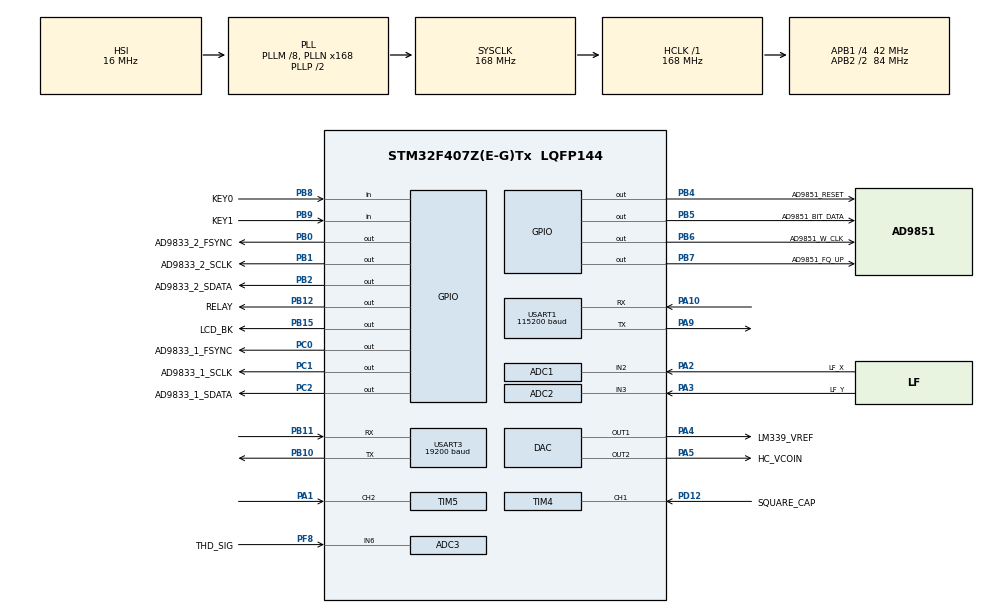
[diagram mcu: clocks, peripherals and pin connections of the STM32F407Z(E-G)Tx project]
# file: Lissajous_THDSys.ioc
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ADC1.Channel-0\#ChannelRegularConversion=ADC_CHANNEL_2
ADC1.Channel-1\#ChannelInjectedConversion=ADC_CHANNEL_2
ADC1.Channel-IN2=ADC_CHANNEL_2
ADC1.ContinuousConvMode=DISABLE
ADC1.DMAContinuousRequests=ENABLE
ADC1.DataAlign=ADC_DATAALIGN_RIGHT
ADC1.DiscontinuousConvMode=DISABLE
ADC1.EOCSelection=ADC_EOC_SINGLE_CONV
ADC1.EnableAnalogWatchDog=false
ADC1.ExternalTrigConv=ADC_EXTERNALTRIGCONV_T2_TRGO
ADC1.ExternalTrigConvEdge=ADC_EXTERNALTRIGCONVEDGE_RISING
ADC1.ExternalTrigInjecConv=ADC_INJECTED_SOFTWARE_START
ADC1.ExternalTrigInjecConvEdge=ADC_EXTERNALTRIGINJECCONVEDGE_NONE
ADC1.InjNumberOfConversion=1
ADC1.InjectedConvMode=None
ADC1.InjectedOffset-1\#ChannelInjectedConversion=0
ADC1.InjectedRank-1\#ChannelInjectedConversion=1
ADC1.Mode=ADC_DUALMODE_REGSIMULT_ALTERTRIG
ADC1.NbrOfConversion=1
ADC1.Rank-0\#ChannelRegularConversion=1
ADC1.Resolution=ADC_RESOLUTION_12B
ADC1.SamplingTime-0\#ChannelRegularConversion=ADC_SAMPLETIME_3CYCLES
ADC1.SamplingTime-1\#ChannelInjectedConversion=ADC_SAMPLETIME_3CYCLES
ADC1.ScanConvMode=DISABLE
ADC1.master=1
ADC2.Channel-3\#ChannelRegularConversion=ADC_CHANNEL_3
ADC2.DMAAccessMode=ADC_DMAACCESSMODE_2
ADC2.Mode=ADC_DUALMODE_REGSIMULT_ALTERTRIG
ADC2.NbrOfConversionFlag=1
ADC2.Rank-3\#ChannelRegularConversion=1
ADC2.SamplingTime-3\#ChannelRegularConversion=ADC_SAMPLETIME_3CYCLES
ADC3.Channel-2\#ChannelRegularConversion=ADC_CHANNEL_6
ADC3.ExternalTrigConv=ADC_EXTERNALTRIGCONV_T3_TRGO
ADC3.Mode=ADC_DUALMODE_REGSIMULT_ALTERTRIG
ADC3.NbrOfConversionFlag=1
ADC3.Rank-2\#ChannelRegularConversion=1
ADC3.SamplingTime-2\#ChannelRegularConversion=ADC_SAMPLETIME_3CYCLES
Dma.ADC1.2.Direction=DMA_PERIPH_TO_MEMORY
Dma.ADC1.2.FIFOMode=DMA_FIFOMODE_DISABLE
Dma.ADC1.2.Instance=DMA2_Stream0
Dma.ADC1.2.MemDataAlignment=DMA_MDATAALIGN_HALFWORD
Dma.ADC1.2.MemInc=DMA_MINC_ENABLE
Dma.ADC1.2.Mode=DMA_CIRCULAR
Dma.ADC1.2.PeriphDataAlignment=DMA_PDATAALIGN_HALFWORD
Dma.ADC1.2.PeriphInc=DMA_PINC_DISABLE
Dma.ADC1.2.Priority=DMA_PRIORITY_LOW
Dma.ADC3.3.Direction=DMA_PERIPH_TO_MEMORY
Dma.ADC3.3.FIFOMode=DMA_FIFOMODE_DISABLE
Dma.ADC3.3.Instance=DMA2_Stream1
Dma.ADC3.3.MemDataAlignment=DMA_MDATAALIGN_HALFWORD
Dma.ADC3.3.MemInc=DMA_MINC_ENABLE
Dma.ADC3.3.Mode=DMA_CIRCULAR
Dma.ADC3.3.PeriphDataAlignment=DMA_PDATAALIGN_HALFWORD
Dma.ADC3.3.PeriphInc=DMA_PINC_DISABLE
Dma.ADC3.3.Priority=DMA_PRIORITY_LOW
Dma.Request0=USART3_RX
Dma.Request1=USART3_TX
Dma.Request2=ADC1
Dma.Request3=ADC3
Dma.USART3_RX.0.Direction=DMA_PERIPH_TO_MEMORY
Dma.USART3_RX.0.FIFOMode=DMA_FIFOMODE_DISABLE
Dma.USART3_RX.0.Instance=DMA1_Stream1
Dma.USART3_RX.0.MemDataAlignment=DMA_MDATAALIGN_BYTE
Dma.USART3_RX.0.MemInc=DMA_MINC_ENABLE
Dma.USART3_RX.0.Mode=DMA_NORMAL
Dma.USART3_RX.0.PeriphDataAlignment=DMA_PDATAALIGN_BYTE
Dma.USART3_RX.0.PeriphInc=DMA_PINC_DISABLE
Dma.USART3_RX.0.Priority=DMA_PRIORITY_LOW
Dma.USART3_TX.1.Direction=DMA_MEMORY_TO_PERIPH
Dma.USART3_TX.1.FIFOMode=DMA_FIFOMODE_DISABLE
Dma.USART3_TX.1.Instance=DMA1_Stream3
Dma.USART3_TX.1.MemDataAlignment=DMA_MDATAALIGN_BYTE
Dma.USART3_TX.1.MemInc=DMA_MINC_ENABLE
Dma.USART3_TX.1.Mode=DMA_NORMAL
Dma.USART3_TX.1.PeriphDataAlignment=DMA_PDATAALIGN_BYTE
Dma.USART3_TX.1.PeriphInc=DMA_PINC_DISABLE
Dma.USART3_TX.1.Priority=DMA_PRIORITY_LOW
Mcu.Family=STM32F4
Mcu.Name=STM32F407Z(E-G)Tx
Mcu.Package=LQFP144
NVIC.DMA1_Stream1_IRQn=true\:0\:0\:false\:false\:true\:false\:true\:true
NVIC.DMA1_Stream3_IRQn=true\:0\:0\:false\:false\:true\:false\:true\:true
NVIC.DMA2_Stream0_IRQn=true\:0\:0\:false\:false\:true\:false\:true\:true
NVIC.DMA2_Stream1_IRQn=true\:0\:0\:false\:false\:true\:false\:true\:true
NVIC.PriorityGroup=NVIC_PRIORITYGROUP_4
NVIC.TIM4_IRQn=true\:1\:0\:true\:false\:true\:true\:true\:true
NVIC.USART1_IRQn=true\:0\:0\:false\:false\:true\:true\:true\:true
NVIC.USART3_IRQn=true\:0\:0\:false\:false\:true\:true\:true\:true
PA1.Signal=S_TIM5_CH2
PA10.Mode=Asynchronous
PA10.Signal=USART1_RX
PA13.Mode=Serial_Wire
PA13.Signal=SYS_JTMS-SWDIO
PA14.Mode=Serial_Wire
PA14.Signal=SYS_JTCK-SWCLK
PA2.GPIO_Label=LF_X
PA2.Signal=ADCx_IN2
PA3.GPIO_Label=LF_Y
PA3.Signal=ADCx_IN3
PA4.GPIO_Label=LM339_VREF
PA4.Signal=COMP_DAC1_group
PA5.GPIO_Label=HC_VCOIN
PA5.Signal=COMP_DAC2_group
PA9.Mode=Asynchronous
PA9.Signal=USART1_TX
PB0.GPIO_Label=AD9833_2_FSYNC
PB0.GPIO_Speed=GPIO_SPEED_FREQ_HIGH
PB0.Signal=GPIO_Output
PB1.GPIO_Label=AD9833_2_SCLK
PB1.GPIO_Speed=GPIO_SPEED_FREQ_HIGH
PB1.Signal=GPIO_Output
PB10.Mode=Asynchronous
PB10.Signal=USART3_TX
PB11.Mode=Asynchronous
PB11.Signal=USART3_RX
PB12.GPIO_Label=RELAY
PB12.GPIO_Speed=GPIO_SPEED_FREQ_HIGH
PB12.Signal=GPIO_Output
PB15.GPIO_Label=LCD_BK
PB15.Signal=GPIO_Output
PB2.GPIO_Label=AD9833_2_SDATA
PB2.Signal=GPIO_Output
PB4.GPIO_Label=AD9851_RESET
PB4.GPIO_Speed=GPIO_SPEED_FREQ_HIGH
PB4.Signal=GPIO_Output
PB5.GPIO_Label=AD9851_BIT_DATA
PB5.GPIO_Speed=GPIO_SPEED_FREQ_HIGH
PB5.Signal=GPIO_Output
PB6.GPIO_Label=AD9851_W_CLK
PB6.GPIO_Speed=GPIO_SPEED_FREQ_HIGH
PB6.Signal=GPIO_Output
PB7.GPIO_Label=AD9851_FQ_UP
PB7.GPIO_Speed=GPIO_SPEED_FREQ_HIGH
PB7.Signal=GPIO_Output
PB8.GPIO_Label=KEY0
PB8.GPIO_PuPd=GPIO_PULLUP
PB8.Signal=GPIO_Input
PB9.GPIO_Label=KEY1
PB9.GPIO_PuPd=GPIO_PULLUP
PB9.Signal=GPIO_Input
PC0.GPIO_Label=AD9833_1_FSYNC
PC0.GPIO_Speed=GPIO_SPEED_FREQ_HIGH
PC0.Signal=GPIO_Output
PC1.GPIO_Label=AD9833_1_SCLK
PC1.Signal=GPIO_Output
PC2.GPIO_Label=AD9833_1_SDATA
PC2.GPIO_Speed=GPIO_SPEED_FREQ_HIGH
PC2.Signal=GPIO_Output
PD12.GPIO_Label=SQUARE_CAP
PD12.Signal=S_TIM4_CH1
PF8.GPIO_Label=THD_SIG
PF8.Mode=IN6
PF8.Signal=ADC3_IN6
PH0-OSC_IN.Mode=HSE-External-Oscillator
PH0-OSC_IN.Signal=RCC_OSC_IN
PH1-OSC_OUT.Mode=HSE-External-Oscillator
PH1-OSC_OUT.Signal=RCC_OSC_OUT
ProjectManager.HeapSize=0x200
ProjectManager.StackSize=0x2000
ProjectManager.TargetToolchain=MDK-ARM V5.27
RCC.48MHZClocksFreq_Value=84000000
RCC.AHBFreq_Value=168000000
RCC.APB1CLKDivider=RCC_HCLK_DIV4
RCC.APB1Freq_Value=42000000
RCC.APB1TimFreq_Value=84000000
RCC.APB2CLKDivider=RCC_HCLK_DIV2
RCC.APB2Freq_Value=84000000
RCC.APB2TimFreq_Value=168000000
RCC.CortexFreq_Value=168000000
RCC.FLatency=FLASH_LATENCY_5
RCC.HCLKFreq_Value=168000000
RCC.HSE_VALUE=8000000
RCC.HSI_VALUE=16000000
RCC.LSE_VALUE=32768
RCC.PLLM=8
RCC.PLLN=168
RCC.SYSCLKFreq_VALUE=168000000
RCC.SYSCLKSource=RCC_SYSCLKSOURCE_PLLCLK
RCC.VCOOutputFreq_Value=336000000
SH.ADCx_IN2.0=ADC1_IN2,IN2
SH.ADCx_IN3.0=ADC2_IN3,IN3
SH.COMP_DAC1_group.0=DAC_OUT1,DAC_OUT1
SH.COMP_DAC2_group.0=DAC_OUT2,DAC_OUT2
SH.S_TIM4_CH1.0=TIM4_CH1,TriggerSource_TI1FP1
SH.S_TIM4_CH1.1=TIM4_CH1,Input_Capture1_from_TI1
SH.S_TIM5_CH2.0=TIM5_CH2,Input_Capture2_from_TI2
STMicroelectronics.X-CUBE-ALGOBUILD.1.4.0.LibraryCcDSPOoLibraryJjDSPOoLibrary=true
TIM2.AutoReloadPreload=TIM_AUTORELOAD_PRELOAD_ENABLE
TIM2.ClockDivision=TIM_CLOCKDIVISION_DIV1
TIM2.CounterMode=TIM_COUNTERMODE_UP
TIM2.Period=9
TIM2.Prescaler=83
TIM2.TIM_MasterOutputTrigger=TIM_TRGO_UPDATE
TIM2.TIM_MasterSlaveMode=TIM_MASTERSLAVEMODE_DISABLE
TIM3.Period=49
TIM3.Prescaler=34
TIM3.TIM_MasterOutputTrigger=TIM_TRGO_UPDATE
TIM4.Channel-Input_Capture1_from_TI1=TIM_CHANNEL_1
TIM4.Channel-Input_Capture2_from_TI1_63=TIM_CHANNEL_2
TIM4.ICPolarity_CH2=TIM_INPUTCHANNELPOLARITY_FALLING
TIM4.Period=99
TIM4.Prescaler=8399
TIM5.Channel-Input_Capture2_from_TI2=TIM_CHANNEL_2
TIM8.AutoReloadPreload=TIM_AUTORELOAD_PRELOAD_ENABLE
TIM8.ClockDivision=TIM_CLOCKDIVISION_DIV1
TIM8.CounterMode=TIM_COUNTERMODE_UP
TIM8.Period=83
TIM8.Prescaler=0
TIM8.RepetitionCounter=0
TIM8.TIM_MasterOutputTrigger=TIM_TRGO_UPDATE
TIM8.TIM_MasterSlaveMode=TIM_MASTERSLAVEMODE_DISABLE
USART1.BaudRate=115200
USART1.Mode=MODE_TX_RX
USART1.OverSampling=UART_OVERSAMPLING_16
USART1.Parity=PARITY_NONE
USART1.StopBits=STOPBITS_1
USART1.VirtualMode=VM_ASYNC
USART1.WordLength=WORDLENGTH_8B
USART3.BaudRate=19200
USART3.Mode=MODE_TX_RX
USART3.OverSampling=UART_OVERSAMPLING_16
USART3.Parity=PARITY_NONE
USART3.StopBits=STOPBITS_1
USART3.VirtualMode=VM_ASYNC
USART3.WordLength=WORDLENGTH_8B
VP_STMicroelectronics.X-CUBE-ALGOBUILD_VS_DSPOoLibraryJjLibrary_1.4.0_1.4.0.Mode=DSPOoLibraryJjLibrary
VP_TIM2_VS_ClockSourceINT.Mode=Internal
VP_TIM3_VS_ClockSourceINT.Mode=Internal
VP_TIM4_VS_ClockSourceINT.Mode=Internal
VP_TIM4_VS_ControllerModeReset.Mode=Reset Mode
VP_TIM4_VS_indirect_ch1.Mode=Input_Capture2_from_TI1_63
VP_TIM8_VS_ClockSourceINT.Mode=Internal
board=custom

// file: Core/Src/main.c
/* USER CODE BEGIN Header */
/**
  ******************************************************************************
  * @file           : main.c
  * @brief          : Main program body
  ******************************************************************************
  * @attention
  *
  * Copyright (c) 2025 STMicroelectronics.
  * All rights reserved.
  *
  * This software is licensed under terms that can be found in the LICENSE file
  * in the root directory of this software component.
  * If no LICENSE file comes with this software, it is provided AS-IS.
  *
  ******************************************************************************
  */
/* USER CODE END Header */
#include "main.h"
#include "adc.h"
#include "dac.h"
#include "dma.h"
#include "tim.h"
#include "usart.h"
#include "gpio.h"

/* USER CODE BEGIN Includes */
#include "./fft_hp_estimate/fft_hp_estimate.h"
#include "./ad9833/bsp_ad9833.h"
#include "./serial_screen/serial_screen.h"
#include <stdio.h>
/* USER CODE END Includes */

/* USER CODE BEGIN PV */
/* 全局时间节拍，每 10ms +1 */
extern volatile uint32_t timer_tick_count;
/* 串口屏缓冲 与 解析 */
extern uint8_t  cmd_buffer[CMD_MAX_SIZE];
extern uint16_t lissajous_graph_state;
uint16_t size;
/* USER CODE END PV */

void SystemClock_Config(void);

int main(void)
{

  /* MCU Configuration--------------------------------------------------------*/

  /* Reset of all peripherals, Initializes the Flash interface and the Systick. */
  HAL_Init();

  /* Configure the system clock */
  SystemClock_Config();

  /* Initialize all configured peripherals */
  MX_GPIO_Init();
  MX_DMA_Init();
  MX_ADC1_Init();
  MX_USART1_UART_Init();
  MX_TIM2_Init();
  MX_USART3_UART_Init();
  MX_ADC2_Init();
  MX_TIM8_Init();
  MX_ADC3_Init();
  MX_DAC_Init();
  MX_TIM3_Init();
  MX_TIM4_Init();
  MX_TIM5_Init();
  /* USER CODE BEGIN 2 */
  AD9833_Init();
  AD9833_Config(1000.0, AD9833_OUT_SINUS, 0);
  printf("Hello World\r\n");
  /* USER CODE END 2 */

  /* Infinite loop */
  /* USER CODE BEGIN WHILE */
  while (1)
  {
      /* 1) 先从 FIFO/队列里拿一帧 */
      size = queue_find_cmd(cmd_buffer, CMD_MAX_SIZE);
      if (size > 0 && cmd_buffer[1] != 0x07)
      {
          ProcessMessage((PCTRL_MSG)cmd_buffer, size);
      }

      /* 2) 每 20 个节拍（=100ms）刷新一次 UI */
      if ((timer_tick_count % TIME_100MS) == 0)
      {
          UpdateUI();
      }

    /* USER CODE END WHILE */

  }
}

void SystemClock_Config(void)
{
  RCC_OscInitTypeDef RCC_OscInitStruct = {0};
  RCC_ClkInitTypeDef RCC_ClkInitStruct = {0};

  /** Configure the main internal regulator output voltage
  */
  __HAL_RCC_PWR_CLK_ENABLE();
  __HAL_PWR_VOLTAGESCALING_CONFIG(PWR_REGULATOR_VOLTAGE_SCALE1);

  /** Initializes the RCC Oscillators according to the specified parameters
  * in the RCC_OscInitTypeDef structure.
  */
  RCC_OscInitStruct.OscillatorType = RCC_OSCILLATORTYPE_HSI;
  RCC_OscInitStruct.HSIState = RCC_HSI_ON;
  RCC_OscInitStruct.HSICalibrationValue = RCC_HSICALIBRATION_DEFAULT;
  RCC_OscInitStruct.PLL.PLLState = RCC_PLL_ON;
  RCC_OscInitStruct.PLL.PLLSource = RCC_PLLSOURCE_HSI;
  RCC_OscInitStruct.PLL.PLLM = 8;
  RCC_OscInitStruct.PLL.PLLN = 168;
  RCC_OscInitStruct.PLL.PLLP = RCC_PLLP_DIV2;
  RCC_OscInitStruct.PLL.PLLQ = 4;
  if (HAL_RCC_OscConfig(&RCC_OscInitStruct) != HAL_OK)
  {
    Error_Handler();
  }

  /** Initializes the CPU, AHB and APB buses clocks
  */
  RCC_ClkInitStruct.ClockType = RCC_CLOCKTYPE_HCLK|RCC_CLOCKTYPE_SYSCLK
                              |RCC_CLOCKTYPE_PCLK1|RCC_CLOCKTYPE_PCLK2;
  RCC_ClkInitStruct.SYSCLKSource = RCC_SYSCLKSOURCE_PLLCLK;
  RCC_ClkInitStruct.AHBCLKDivider = RCC_SYSCLK_DIV1;
  RCC_ClkInitStruct.APB1CLKDivider = RCC_HCLK_DIV4;
  RCC_ClkInitStruct.APB2CLKDivider = RCC_HCLK_DIV2;

  if (HAL_RCC_ClockConfig(&RCC_ClkInitStruct, FLASH_LATENCY_5) != HAL_OK)
  {
    Error_Handler();
  }
}

/* USER CODE BEGIN 4 */
void HAL_SYSTICK_Callback(void)
{
    timer_tick_count++;
}

/* USER CODE END 4 */

void Error_Handler(void)
{
  __disable_irq();
  while (1)
  {
  }
}
